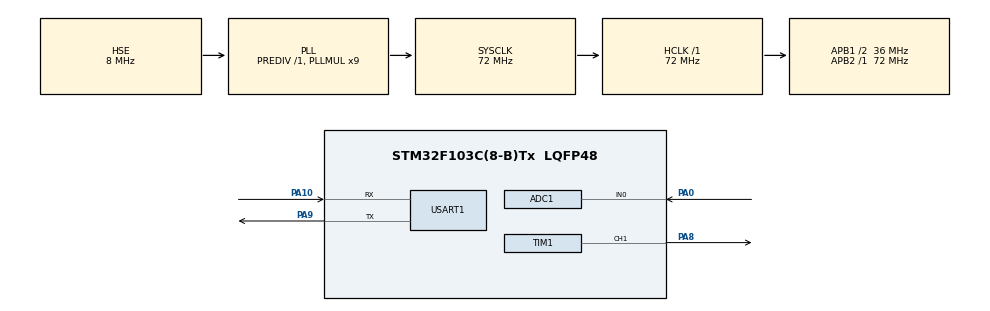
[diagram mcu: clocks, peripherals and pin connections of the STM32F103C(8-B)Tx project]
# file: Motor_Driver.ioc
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ADC1.ContinuousConvMode=ENABLE
ADC1.NbrOfConversion=1
ADC1.NbrOfConversionFlag=1
ADC1.SamplingTime-0\#ChannelRegularConversion=ADC_SAMPLETIME_55CYCLES_5
ADC1.master=1
Dma.Request0=USART1_TX
Dma.Request1=USART1_RX
Dma.USART1_RX.1.Direction=DMA_PERIPH_TO_MEMORY
Dma.USART1_RX.1.Instance=DMA1_Channel5
Dma.USART1_RX.1.MemDataAlignment=DMA_MDATAALIGN_BYTE
Dma.USART1_RX.1.MemInc=DMA_MINC_ENABLE
Dma.USART1_RX.1.Mode=DMA_NORMAL
Dma.USART1_RX.1.PeriphDataAlignment=DMA_PDATAALIGN_BYTE
Dma.USART1_RX.1.PeriphInc=DMA_PINC_DISABLE
Dma.USART1_RX.1.Priority=DMA_PRIORITY_MEDIUM
Dma.USART1_TX.0.Direction=DMA_MEMORY_TO_PERIPH
Dma.USART1_TX.0.Instance=DMA1_Channel4
Dma.USART1_TX.0.MemDataAlignment=DMA_MDATAALIGN_BYTE
Dma.USART1_TX.0.MemInc=DMA_MINC_ENABLE
Dma.USART1_TX.0.Mode=DMA_NORMAL
Dma.USART1_TX.0.PeriphDataAlignment=DMA_PDATAALIGN_BYTE
Dma.USART1_TX.0.PeriphInc=DMA_PINC_DISABLE
Dma.USART1_TX.0.Priority=DMA_PRIORITY_MEDIUM
Mcu.Family=STM32F1
Mcu.Name=STM32F103C(8-B)Tx
Mcu.Package=LQFP48
NVIC.ADC1_2_IRQn=true\:0\:0\:false\:false\:true\:true\:true\:true
NVIC.DMA1_Channel4_IRQn=true\:0\:0\:false\:false\:true\:false\:true\:true
NVIC.DMA1_Channel5_IRQn=true\:0\:0\:false\:false\:true\:false\:true\:true
NVIC.PriorityGroup=NVIC_PRIORITYGROUP_4
NVIC.USART1_IRQn=true\:0\:0\:false\:false\:true\:true\:true\:true
PA0-WKUP.Signal=ADCx_IN0
PA10.Mode=Asynchronous
PA10.Signal=USART1_RX
PA13.Mode=Serial_Wire
PA13.Signal=SYS_JTMS-SWDIO
PA14.Mode=Serial_Wire
PA14.Signal=SYS_JTCK-SWCLK
PA8.Signal=S_TIM1_CH1
PA9.Mode=Asynchronous
PA9.Signal=USART1_TX
PD0-OSC_IN.Mode=HSE-External-Oscillator
PD0-OSC_IN.Signal=RCC_OSC_IN
PD1-OSC_OUT.Mode=HSE-External-Oscillator
PD1-OSC_OUT.Signal=RCC_OSC_OUT
ProjectManager.HeapSize=0x200
ProjectManager.StackSize=0x400
ProjectManager.TargetToolchain=STM32CubeIDE
RCC.ADCPresc=RCC_ADCPCLK2_DIV6
RCC.AHBFreq_Value=72000000
RCC.APB1CLKDivider=RCC_HCLK_DIV2
RCC.APB1Freq_Value=36000000
RCC.APB1TimFreq_Value=72000000
RCC.APB2Freq_Value=72000000
RCC.APB2TimFreq_Value=72000000
RCC.HCLKFreq_Value=72000000
RCC.PLLMUL=RCC_PLL_MUL9
RCC.PLLSourceVirtual=RCC_PLLSOURCE_HSE
RCC.SYSCLKFreq_VALUE=72000000
RCC.SYSCLKSource=RCC_SYSCLKSOURCE_PLLCLK
RCC.USBFreq_Value=72000000
SH.ADCx_IN0.0=ADC1_IN0,IN0
SH.S_TIM1_CH1.0=TIM1_CH1,PWM Generation1 CH1
TIM1.Channel-PWM\ Generation1\ CH1=TIM_CHANNEL_1
TIM1.Period=99
TIM1.Prescaler=71
USART1.VirtualMode=VM_ASYNC
VP_TIM1_VS_ClockSourceINT.Mode=Internal
board=custom

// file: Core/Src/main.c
/* USER CODE BEGIN Header */
/**
  ******************************************************************************
  * @file           : main.c
  * @brief          : Main program body
  ******************************************************************************
  * @attention
  *
  * Copyright (c) 2023 STMicroelectronics.
  * All rights reserved.
  *
  * This software is licensed under terms that can be found in the LICENSE file
  * in the root directory of this software component.
  * If no LICENSE file comes with this software, it is provided AS-IS.
  *
  ******************************************************************************
  */
/* USER CODE END Header */
#include "main.h"

/* USER CODE BEGIN Includes */

#include <stdio.h>
#include <stdlib.h>
#include <string.h>

/* USER CODE END Includes */

/* USER CODE BEGIN PD */

#define BUFFER_SIZE 50

/* USER CODE END PD */

ADC_HandleTypeDef hadc1;

TIM_HandleTypeDef htim1;

UART_HandleTypeDef huart1;
DMA_HandleTypeDef hdma_usart1_tx;
DMA_HandleTypeDef hdma_usart1_rx;

/* USER CODE BEGIN PV */

// variables for ADC
uint16_t adc_data;
float adc_voltage;

// variables for TIMER/PWM
uint16_t pulse, deger;

// variables for UART
uint8_t TxBuffer[BUFFER_SIZE], RxBuffer[BUFFER_SIZE], size;

/* USER CODE END PV */

void SystemClock_Config(void);
static void MX_GPIO_Init(void);
static void MX_DMA_Init(void);
static void MX_ADC1_Init(void);
static void MX_TIM1_Init(void);
static void MX_USART1_UART_Init(void);

/* USER CODE BEGIN 0 */

uint16_t Map(float adc_value, float adc_max, float adc_min, float conmax, float conmin){

	return (int)((adc_value - adc_min) * ((conmax - conmin) / (adc_max - adc_min))) + conmin;

}

void HAL_UARTEx_RxEventCallback(UART_HandleTypeDef *huart, uint16_t Size){

	if(USART1 == huart->Instance){

		if(__HAL_DMA_GET_TC_FLAG_INDEX(&hdma_usart1_rx)){

			deger = atoi((char *)RxBuffer);
			adc_voltage = deger * ((3.3)/4095);
			size = sprintf((char *)TxBuffer, "PWM: %d - Voltage: %.1fV\n", deger, adc_voltage);

			HAL_UART_Transmit_DMA(&huart1, TxBuffer, size);

			for(int i=Size; i<BUFFER_SIZE; ++i)
				RxBuffer[i] = 0;
		}

	}

	  HAL_UARTEx_ReceiveToIdle_DMA(&huart1, RxBuffer, BUFFER_SIZE);
	  __HAL_DMA_DISABLE_IT(&hdma_usart1_rx, DMA_IT_HT);

}

/* USER CODE END 0 */

int main(void)
{

  /* MCU Configuration--------------------------------------------------------*/

  /* Reset of all peripherals, Initializes the Flash interface and the Systick. */
  HAL_Init();

  /* Configure the system clock */
  SystemClock_Config();

  /* Initialize all configured peripherals */
  MX_GPIO_Init();
  MX_DMA_Init();
  MX_ADC1_Init();
  MX_TIM1_Init();
  MX_USART1_UART_Init();
  /* USER CODE BEGIN 2 */

  HAL_ADC_Start_IT(&hadc1);
  HAL_TIM_PWM_Start(&htim1, TIM_CHANNEL_1);

  HAL_UARTEx_ReceiveToIdle_DMA(&huart1, RxBuffer, BUFFER_SIZE);
  __HAL_DMA_DISABLE_IT(&hdma_usart1_rx, DMA_IT_HT);

  /* USER CODE END 2 */

  /* Infinite loop */
  /* USER CODE BEGIN WHILE */
  while (1)
  {

	  pulse = Map(deger, 4095, 0, 99, 0);
	  __HAL_TIM_SET_COMPARE(&htim1, TIM_CHANNEL_1, pulse);

    /* USER CODE END WHILE */

  }
}

void SystemClock_Config(void)
{
  RCC_OscInitTypeDef RCC_OscInitStruct = {0};
  RCC_ClkInitTypeDef RCC_ClkInitStruct = {0};
  RCC_PeriphCLKInitTypeDef PeriphClkInit = {0};

  /** Initializes the RCC Oscillators according to the specified parameters
  * in the RCC_OscInitTypeDef structure.
  */
  RCC_OscInitStruct.OscillatorType = RCC_OSCILLATORTYPE_HSE;
  RCC_OscInitStruct.HSEState = RCC_HSE_ON;
  RCC_OscInitStruct.HSEPredivValue = RCC_HSE_PREDIV_DIV1;
  RCC_OscInitStruct.HSIState = RCC_HSI_ON;
  RCC_OscInitStruct.PLL.PLLState = RCC_PLL_ON;
  RCC_OscInitStruct.PLL.PLLSource = RCC_PLLSOURCE_HSE;
  RCC_OscInitStruct.PLL.PLLMUL = RCC_PLL_MUL9;
  if (HAL_RCC_OscConfig(&RCC_OscInitStruct) != HAL_OK)
  {
    Error_Handler();
  }

  /** Initializes the CPU, AHB and APB buses clocks
  */
  RCC_ClkInitStruct.ClockType = RCC_CLOCKTYPE_HCLK|RCC_CLOCKTYPE_SYSCLK
                              |RCC_CLOCKTYPE_PCLK1|RCC_CLOCKTYPE_PCLK2;
  RCC_ClkInitStruct.SYSCLKSource = RCC_SYSCLKSOURCE_PLLCLK;
  RCC_ClkInitStruct.AHBCLKDivider = RCC_SYSCLK_DIV1;
  RCC_ClkInitStruct.APB1CLKDivider = RCC_HCLK_DIV2;
  RCC_ClkInitStruct.APB2CLKDivider = RCC_HCLK_DIV1;

  if (HAL_RCC_ClockConfig(&RCC_ClkInitStruct, FLASH_LATENCY_2) != HAL_OK)
  {
    Error_Handler();
  }
  PeriphClkInit.PeriphClockSelection = RCC_PERIPHCLK_ADC;
  PeriphClkInit.AdcClockSelection = RCC_ADCPCLK2_DIV6;
  if (HAL_RCCEx_PeriphCLKConfig(&PeriphClkInit) != HAL_OK)
  {
    Error_Handler();
  }
}

static void MX_ADC1_Init(void)
{

  ADC_ChannelConfTypeDef sConfig = {0};

  /** Common config
  */
  hadc1.Instance = ADC1;
  hadc1.Init.ScanConvMode = ADC_SCAN_DISABLE;
  hadc1.Init.ContinuousConvMode = ENABLE;
  hadc1.Init.DiscontinuousConvMode = DISABLE;
  hadc1.Init.ExternalTrigConv = ADC_SOFTWARE_START;
  hadc1.Init.DataAlign = ADC_DATAALIGN_RIGHT;
  hadc1.Init.NbrOfConversion = 1;
  if (HAL_ADC_Init(&hadc1) != HAL_OK)
  {
    Error_Handler();
  }

  /** Configure Regular Channel
  */
  sConfig.Channel = ADC_CHANNEL_0;
  sConfig.Rank = ADC_REGULAR_RANK_1;
  sConfig.SamplingTime = ADC_SAMPLETIME_55CYCLES_5;
  if (HAL_ADC_ConfigChannel(&hadc1, &sConfig) != HAL_OK)
  {
    Error_Handler();
  }

}

static void MX_TIM1_Init(void)
{

  TIM_ClockConfigTypeDef sClockSourceConfig = {0};
  TIM_MasterConfigTypeDef sMasterConfig = {0};
  TIM_OC_InitTypeDef sConfigOC = {0};
  TIM_BreakDeadTimeConfigTypeDef sBreakDeadTimeConfig = {0};

  htim1.Instance = TIM1;
  htim1.Init.Prescaler = 71;
  htim1.Init.CounterMode = TIM_COUNTERMODE_UP;
  htim1.Init.Period = 99;
  htim1.Init.ClockDivision = TIM_CLOCKDIVISION_DIV1;
  htim1.Init.RepetitionCounter = 0;
  htim1.Init.AutoReloadPreload = TIM_AUTORELOAD_PRELOAD_DISABLE;
  if (HAL_TIM_Base_Init(&htim1) != HAL_OK)
  {
    Error_Handler();
  }
  sClockSourceConfig.ClockSource = TIM_CLOCKSOURCE_INTERNAL;
  if (HAL_TIM_ConfigClockSource(&htim1, &sClockSourceConfig) != HAL_OK)
  {
    Error_Handler();
  }
  if (HAL_TIM_PWM_Init(&htim1) != HAL_OK)
  {
    Error_Handler();
  }
  sMasterConfig.MasterOutputTrigger = TIM_TRGO_RESET;
  sMasterConfig.MasterSlaveMode = TIM_MASTERSLAVEMODE_DISABLE;
  if (HAL_TIMEx_MasterConfigSynchronization(&htim1, &sMasterConfig) != HAL_OK)
  {
    Error_Handler();
  }
  sConfigOC.OCMode = TIM_OCMODE_PWM1;
  sConfigOC.Pulse = 0;
  sConfigOC.OCPolarity = TIM_OCPOLARITY_HIGH;
  sConfigOC.OCNPolarity = TIM_OCNPOLARITY_HIGH;
  sConfigOC.OCFastMode = TIM_OCFAST_DISABLE;
  sConfigOC.OCIdleState = TIM_OCIDLESTATE_RESET;
  sConfigOC.OCNIdleState = TIM_OCNIDLESTATE_RESET;
  if (HAL_TIM_PWM_ConfigChannel(&htim1, &sConfigOC, TIM_CHANNEL_1) != HAL_OK)
  {
    Error_Handler();
  }
  sBreakDeadTimeConfig.OffStateRunMode = TIM_OSSR_DISABLE;
  sBreakDeadTimeConfig.OffStateIDLEMode = TIM_OSSI_DISABLE;
  sBreakDeadTimeConfig.LockLevel = TIM_LOCKLEVEL_OFF;
  sBreakDeadTimeConfig.DeadTime = 0;
  sBreakDeadTimeConfig.BreakState = TIM_BREAK_DISABLE;
  sBreakDeadTimeConfig.BreakPolarity = TIM_BREAKPOLARITY_HIGH;
  sBreakDeadTimeConfig.AutomaticOutput = TIM_AUTOMATICOUTPUT_DISABLE;
  if (HAL_TIMEx_ConfigBreakDeadTime(&htim1, &sBreakDeadTimeConfig) != HAL_OK)
  {
    Error_Handler();
  }
  HAL_TIM_MspPostInit(&htim1);

}

static void MX_USART1_UART_Init(void)
{

  huart1.Instance = USART1;
  huart1.Init.BaudRate = 115200;
  huart1.Init.WordLength = UART_WORDLENGTH_8B;
  huart1.Init.StopBits = UART_STOPBITS_1;
  huart1.Init.Parity = UART_PARITY_NONE;
  huart1.Init.Mode = UART_MODE_TX_RX;
  huart1.Init.HwFlowCtl = UART_HWCONTROL_NONE;
  huart1.Init.OverSampling = UART_OVERSAMPLING_16;
  if (HAL_UART_Init(&huart1) != HAL_OK)
  {
    Error_Handler();
  }

}

static void MX_DMA_Init(void)
{

  /* DMA controller clock enable */
  __HAL_RCC_DMA1_CLK_ENABLE();

  /* DMA interrupt init */
  /* DMA1_Channel4_IRQn interrupt configuration */
  HAL_NVIC_SetPriority(DMA1_Channel4_IRQn, 0, 0);
  HAL_NVIC_EnableIRQ(DMA1_Channel4_IRQn);
  /* DMA1_Channel5_IRQn interrupt configuration */
  HAL_NVIC_SetPriority(DMA1_Channel5_IRQn, 0, 0);
  HAL_NVIC_EnableIRQ(DMA1_Channel5_IRQn);

}

static void MX_GPIO_Init(void)
{

  /* GPIO Ports Clock Enable */
  __HAL_RCC_GPIOD_CLK_ENABLE();
  __HAL_RCC_GPIOA_CLK_ENABLE();

}

void Error_Handler(void)
{
  __disable_irq();
  while (1)
  {
  }
}
